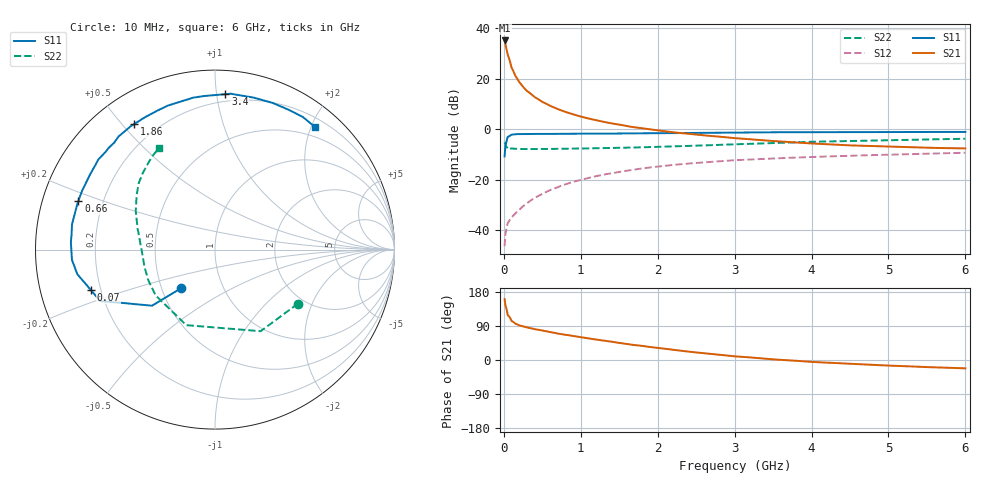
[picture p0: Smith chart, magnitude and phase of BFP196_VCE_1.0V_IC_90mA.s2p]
! Infineon Technologies  Discrete & RF Semiconductors
! BFP196
! VCE = 1.0 V,  IC =  90mA
! Common Emitter S-Parameters:  Jan 2016
# GHz  S  MA  R  50
!  f  S11  S21  S12  S22
! GHz  MAG  ANG  MAG  ANG  MAG  ANG  MAG  ANG
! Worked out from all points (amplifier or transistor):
!   210 points, 10 MHz to 6 GHz, reference 50 ohm
!   highest |S21| = 35.2 dB at 10 MHz (marker M1)
!   |S21| within 3 dB of that: start of sweep to 32.39 MHz
!   unconditionally stable (mu >= 1): start of sweep to 12.85 MHz; 196.9 MHz to end of sweep
!   at 185 MHz: K = 0.97, MSG = 25.9 dB, |S12| = -32.4 dB
!   at 1.52 GHz: K = 1.17, MAG = 6.8 dB, |S12| = -16.8 dB
!   at 6 GHz: K = 1.07, MAG = -0.7 dB, |S12| = -9.3 dB
!   S11 on the Smith chart (normalised r, x): 10 MHz: 0.62, -0.30; 70 MHz: 0.16, -0.16; 660 MHz: 0.11, +0.17; 1.86 GHz: 0.12, +0.54; 3.4 GHz: 0.15, +1.06; 6 GHz: 0.33, +2.05
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0.01  0.2891 -131.5  57.46 160.7  0.0048 64.3  0.5515 -33.1
0.02  0.4697 -138.3  49.52 144.6  0.0084 57.6  0.5209 -60.8
0.05  0.7008 -155.9  30.28 118.7  0.0137 45.4  0.4503 -110.8
0.07  0.7269 -161.9  24.66 114.5  0.0153 46.5  0.4217 -122.8
0.1  0.7793 -169.9  16.7 103.0  0.0177 47.8  0.4178 -142.4
0.15  0.799 -175.9  11.4 95.9  0.0215 52.3  0.4095 -154.8
0.2  0.8009 -179.9  8.615 91.4  0.0252 57.2  0.4053 -161.5
0.24  0.8034 177.5  7.219 89.0  0.0289 59.6  0.4045 -165.1
0.3  0.8033 174.6  5.752 85.8  0.0341 62.5  0.4037 -168.6
0.4  0.809 169.9  4.344 81.4  0.0432 64.6  0.4045 -172.7
0.5  0.8068 166.5  3.485 77.7  0.0521 65.5  0.4051 -175.5
0.66  0.8078 160.4  2.669 71.4  0.0674 65.5  0.4074 -178.5
0.8  0.8099 155.9  2.202 66.6  0.0807 64.2  0.41 179.4
1.02  0.8126 148.1  1.75 59.6  0.1008 61.7  0.4151 176.4
1.38  0.8191 136.7  1.32 48.9  0.1324 56.5  0.424 172.2
1.86  0.8319 122.8  1.015 35.4  0.1715 48.6  0.4407 166.6
2.02  0.8342 118.4  0.939 31.4  0.183 45.9  0.4481 164.5
3.1  0.8588 92.0  0.648 8.3  0.2467 28.5  0.507 150.1
3.4  0.8678 86.2  0.599 3.5  0.2594 24.2  0.526 146.2
4.1  0.8736 74.3  0.513 -6.0  0.2848 15.1  0.5673 137.9
5.1  0.8811 61.0  0.447 -15.5  0.3156 3.8  0.6089 127.7
6  0.8818 51.0  0.416 -22.0  0.3413 -6.3  0.6465 118.8
